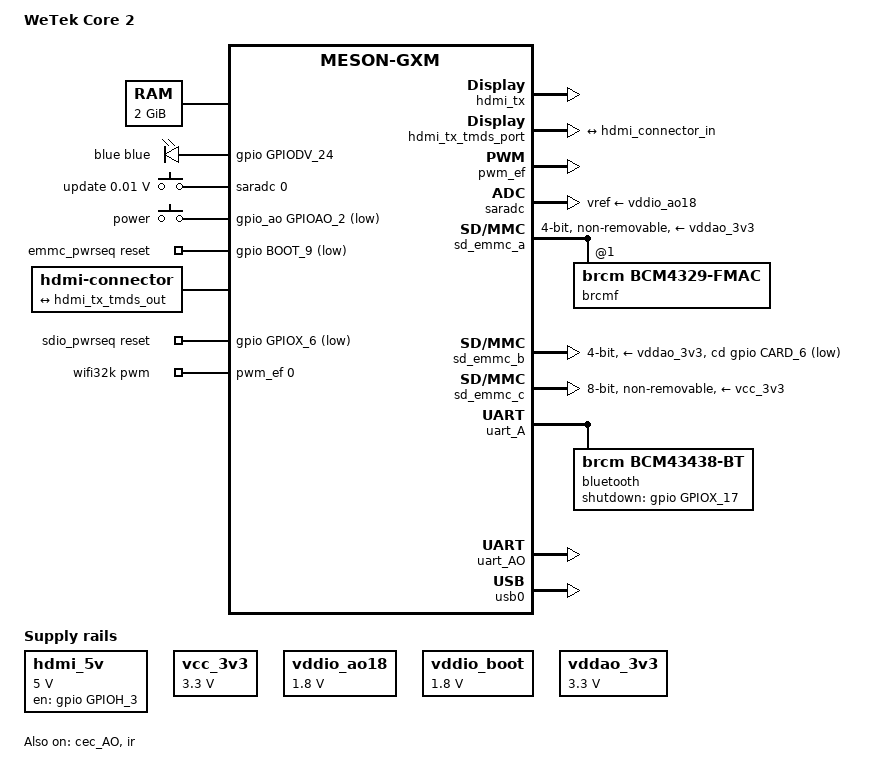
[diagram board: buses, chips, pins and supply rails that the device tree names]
// SPDX-License-Identifier: (GPL-2.0+ OR MIT)
/*
 * Copyright (c) 2020 Christian Hewitt <christianshewitt@gmail.com>
 */

/dts-v1/;

#include "meson-gxm.dtsi"
#include <dt-bindings/input/input.h>
#include <dt-bindings/leds/common.h>

/ {
	compatible = "wetek,core2", "amlogic,s912", "amlogic,meson-gxm";
	model = "WeTek Core 2";

	aliases {
		ethernet0 = &ethmac;
		serial0 = &uart_AO;
	};

	chosen {
		stdout-path = "serial0:115200n8";
	};

	memory@0 {
		device_type = "memory";
		reg = <0x0 0x0 0x0 0x80000000>; /* 2GB or 3GB */
	};

        leds {
		compatible = "gpio-leds";

		blue {
			color = <LED_COLOR_ID_BLUE>;
			function = LED_FUNCTION_STATUS;
			gpios = <&gpio GPIODV_24 GPIO_ACTIVE_HIGH>;
			default-state = "on";
		};
	};

	adc-keys {
		compatible = "adc-keys";
		io-channels = <&saradc 0>;
		io-channel-names = "buttons";
		keyup-threshold-microvolt = <1710000>;

		button-update {
			label = "update";
			linux,code = <KEY_VENDOR>;
			press-threshold-microvolt = <10000>;
		};
	};

	gpio-keys-polled {
		compatible = "gpio-keys-polled";
		#address-cells = <1>;
		#size-cells = <0>;
		poll-interval = <100>;

		button-power {
			label = "power";
			linux,code = <KEY_POWER>;
			gpios = <&gpio_ao GPIOAO_2 GPIO_ACTIVE_LOW>;
		};
	};

	emmc_pwrseq: emmc-pwrseq {
		compatible = "mmc-pwrseq-emmc";
		reset-gpios = <&gpio BOOT_9 GPIO_ACTIVE_LOW>;
	};

	hdmi-connector {
		compatible = "hdmi-connector";
		type = "a";

		port {
			hdmi_connector_in: endpoint {
				remote-endpoint = <&hdmi_tx_tmds_out>;
			};
		};
	};

	sdio_pwrseq: sdio-pwrseq {
		compatible = "mmc-pwrseq-simple";
		reset-gpios = <&gpio GPIOX_6 GPIO_ACTIVE_LOW>;
		clocks = <&wifi32k>;
		clock-names = "ext_clock";
	};

	hdmi_5v: regulator-hdmi-5v {
		compatible = "regulator-fixed";

		regulator-name = "HDMI_5V";
		regulator-min-microvolt = <5000000>;
		regulator-max-microvolt = <5000000>;

		gpio = <&gpio GPIOH_3 GPIO_ACTIVE_HIGH>;
		enable-active-high;
		regulator-always-on;
	};

	vcc_3v3: regulator-vcc_3v3 {
		compatible = "regulator-fixed";
		regulator-name = "VCC_3V3";
		regulator-min-microvolt = <3300000>;
		regulator-max-microvolt = <3300000>;
	};

	vddio_ao18: regulator-vddio_ao18 {
		compatible = "regulator-fixed";
		regulator-name = "VDDIO_AO18";
		regulator-min-microvolt = <1800000>;
		regulator-max-microvolt = <1800000>;
	};

	vddio_boot: regulator-vddio_boot {
		compatible = "regulator-fixed";
		regulator-name = "VDDIO_BOOT";
		regulator-min-microvolt = <1800000>;
		regulator-max-microvolt = <1800000>;
	};

	vddao_3v3: regulator-vddao_3v3 {
		compatible = "regulator-fixed";
		regulator-name = "VDDAO_3V3";
		regulator-min-microvolt = <3300000>;
		regulator-max-microvolt = <3300000>;
	};

	wifi32k: wifi32k {
		compatible = "pwm-clock";
		#clock-cells = <0>;
		clock-frequency = <32768>;
		pwms = <&pwm_ef 0 30518 0>; /* PWM_E at 32.768KHz */
	};
};

&cec_AO {
	status = "okay";
	pinctrl-0 = <&ao_cec_pins>;
	pinctrl-names = "default";
	hdmi-phandle = <&hdmi_tx>;
};

/* Disabled as Realtek RTL8152 USB provides Ethernet */
&ethmac {
	status = "disabled";
	phy-mode = "rmii";
	phy-handle = <&internal_phy>;
};

&hdmi_tx {
	status = "okay";
	pinctrl-0 = <&hdmi_hpd_pins>, <&hdmi_i2c_pins>;
	pinctrl-names = "default";
	hdmi-supply = <&hdmi_5v>;
};

&hdmi_tx_tmds_port {
	hdmi_tx_tmds_out: endpoint {
		remote-endpoint = <&hdmi_connector_in>;
	};
};

&internal_phy {
	pinctrl-0 = <&eth_link_led_pins>, <&eth_act_led_pins>;
	pinctrl-names = "default";
};

&ir {
	status = "okay";
	pinctrl-0 = <&remote_input_ao_pins>;
	pinctrl-names = "default";
	linux,rc-map-name = "rc-wetek-play2";
};

&pwm_ef {
	status = "okay";
	pinctrl-0 = <&pwm_e_pins>, <&pwm_f_clk_pins>;
	pinctrl-names = "default";
	clocks = <&clkc CLKID_FCLK_DIV4>;
	clock-names = "clkin0";
};

&saradc {
	status = "okay";
	vref-supply = <&vddio_ao18>;
};

&sd_emmc_a {
	status = "okay";
	pinctrl-0 = <&sdio_pins>;
	pinctrl-1 = <&sdio_clk_gate_pins>;
	pinctrl-names = "default", "clk-gate";
	#address-cells = <1>;
	#size-cells = <0>;

	bus-width = <4>;
	max-frequency = <60000000>;

	non-removable;
	disable-wp;

	/* WiFi firmware requires power to be kept while in suspend */
	keep-power-in-suspend;

	mmc-pwrseq = <&sdio_pwrseq>;

	vmmc-supply = <&vddao_3v3>;
	vqmmc-supply = <&vddio_boot>;

	brcmf: wifi@1 {
		reg = <1>;
		compatible = "brcm,bcm4329-fmac";
	};
};

/* SD card */
&sd_emmc_b {
	status = "okay";
	pinctrl-0 = <&sdcard_pins>;
	pinctrl-1 = <&sdcard_clk_gate_pins>;
	pinctrl-names = "default", "clk-gate";

	bus-width = <4>;
	cap-sd-highspeed;
	max-frequency = <50000000>;
	disable-wp;

	cd-gpios = <&gpio CARD_6 GPIO_ACTIVE_LOW>;

	vmmc-supply = <&vddao_3v3>;
	vqmmc-supply = <&vddio_boot>;
};

/* eMMC */
&sd_emmc_c {
	status = "okay";
	pinctrl-0 = <&emmc_pins>, <&emmc_ds_pins>;
	pinctrl-1 = <&emmc_clk_gate_pins>;
	pinctrl-names = "default", "clk-gate";

	bus-width = <8>;
	cap-mmc-highspeed;
	max-frequency = <200000000>;
	non-removable;
	disable-wp;
	mmc-ddr-1_8v;
	mmc-hs200-1_8v;

	mmc-pwrseq = <&emmc_pwrseq>;
	vmmc-supply = <&vcc_3v3>;
	vqmmc-supply = <&vddio_boot>;
};

/* This one is connected to the Bluetooth module */
&uart_A {
	status = "okay";
	pinctrl-0 = <&uart_a_pins>, <&uart_a_cts_rts_pins>;
	pinctrl-names = "default";
	uart-has-rtscts;

	bluetooth {
		compatible = "brcm,bcm43438-bt";
		shutdown-gpios = <&gpio GPIOX_17 GPIO_ACTIVE_HIGH>;
		max-speed = <2000000>;
		clocks = <&wifi32k>;
		clock-names = "lpo";
	};
};

&uart_AO {
        status = "okay";
        pinctrl-0 = <&uart_ao_a_pins>;
        pinctrl-names = "default";
};

&usb0 {
	status = "okay";
};
